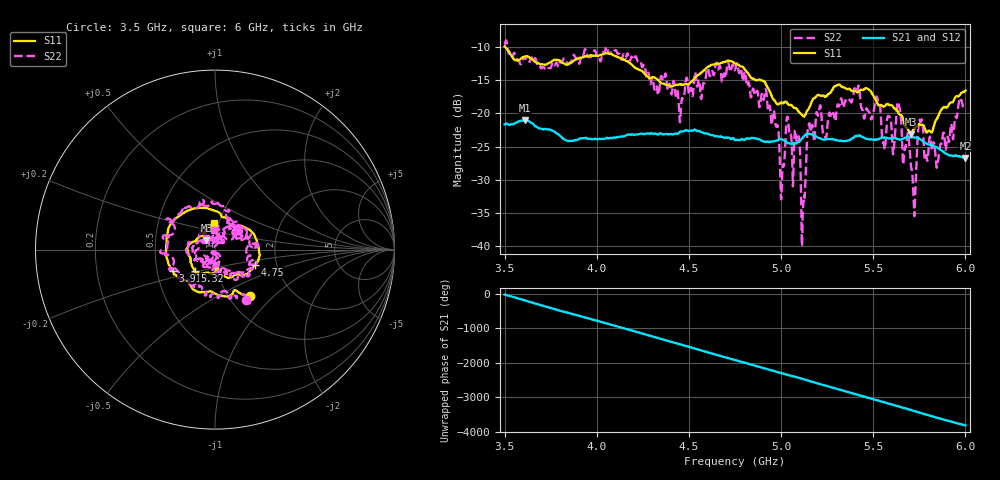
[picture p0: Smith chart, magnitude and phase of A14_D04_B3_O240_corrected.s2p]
! Created with skrf 1.9.0 (http://scikit-rf.org).
# Hz S RI R 50.0
!freq ReS11 ImS11 ReS21 ImS21 ReS12 ImS12 ReS22 ImS22
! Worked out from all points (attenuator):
!   1601 points, 3.5 GHz to 6 GHz, reference 50 ohm
!   highest |S21| = -21.03 dB at 3.611 GHz (marker M1); lowest = -26.7 dB at 6 GHz (marker M2)
!   lowest |S11| = -23.1 dB at 5.703 GHz (marker M3), VSWR 1.15, Z = 45.2 + j4.61 ohm
!   |S11| at or under -10 dB: 3.505 GHz to end of sweep
!   |S22| runs from -40.0 to -9.0 dB; largest |S21 - S12| = 0.0011
!   S11 on the Smith chart (normalised r, x): 3.5 GHz: 1.25, -0.71; 3.919 GHz: 0.60, -0.15; 4.75 GHz: 1.54, -0.28; 5.32 GHz: 0.78, -0.19; 6 GHz: 0.94, +0.29
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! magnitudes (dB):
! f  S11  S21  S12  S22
! 3.5 GHz  -9.9  -21.7  -21.6  -9.6
! 3.611 GHz  -11.4  -21.0  -21.0  -11.7
! 3.917 GHz  -11.6  -23.8  -23.7  -11.1
! 3.919 GHz  -11.6  -23.7  -23.7  -11.1
! 4.334 GHz  -15.0  -23.2  -23.1  -17.2
! 4.75 GHz  -12.5  -24.0  -23.9  -13.4
! 4.923 GHz  -15.9  -24.2  -24.2  -17.7
! 5.005 GHz  -18.4  -23.9  -23.9  -30.1
! 5.036 GHz  -18.6  -24.5  -24.4  -20.6
! 5.088 GHz  -19.4  -24.4  -24.4  -24.2
! 5.12 GHz  -20.4  -23.6  -23.5  -33.8
! 5.147 GHz  -19.3  -23.0  -23.0  -22.1
! 5.167 GHz  -18.1  -23.2  -23.1  -21.8
! 5.32 GHz  -15.7  -24.1  -24.0  -18.3
! 5.584 GHz  -18.7  -23.7  -23.7  -20.4
! 5.611 GHz  -19.1  -23.7  -23.6  -25.7
! 5.639 GHz  -20.0  -23.9  -23.9  -18.6
! 5.703 GHz  -23.1  -23.6  -23.5  -27.4
! 5.722 GHz  -22.3  -23.6  -23.5  -34.8
! 5.756 GHz  -21.7  -23.9  -23.8  -21.3
! 5.848 GHz  -20.7  -25.2  -25.1  -27.8
! 6 GHz  -16.6  -26.7  -26.6  -19.4
